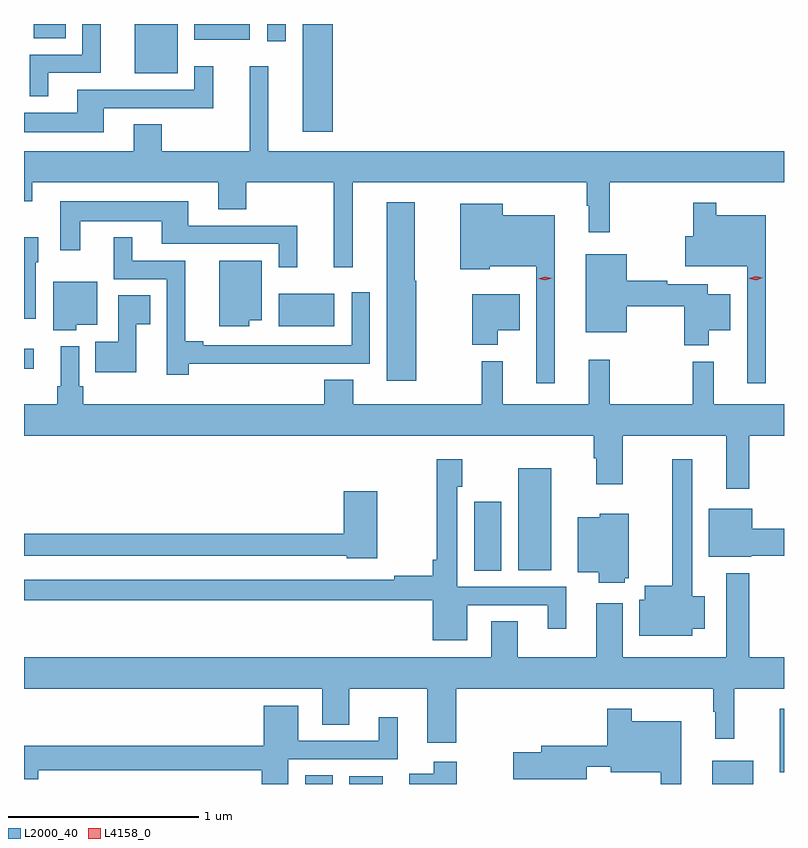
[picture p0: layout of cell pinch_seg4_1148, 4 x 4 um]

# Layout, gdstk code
import gdstk
lib = gdstk.Library(unit=1e-6, precision=1e-09)
def R(c, l, rs):  # rectangles x0, y0, x1, y1
    for r in rs: c.add(gdstk.rectangle(r[:2], r[2:], *l))
def P(c, l, *ps):  # polygons
    for p in ps: c.add(gdstk.Polygon(p, *l))
L2000_40 = (2000, 40)
L4158_0 = (4158, 0)

pinch_seg4_1148 = lib.new_cell('pinch_seg4_1148')
R(pinch_seg4_1148, L2000_40, [(484.589,772.342,484.732,772.388), (484.82,772.342,484.996,772.384), (486.731,772.342,486.946,772.465), (487.086,772.403,487.108,772.738), (485.477,773.464,485.62,773.827), (485.708,773.468,485.884,774.004), (483.108,774.527,483.16,774.634), (484.448,774.752,484.741,774.922), (484.574,775.776,484.733,776.342), (483.692,776.084,483.916,776.342), (484.389,776.25,484.485,776.342), (484.004,776.258,484.297,776.342), (483.158,776.266,483.329,776.342)])
P(pinch_seg4_1148, L2000_40, [(483.235,776.085),(483.512,776.085),(483.512,776.342),(483.414,776.342),(483.414,776.181),(483.137,776.181),(483.137,775.961),(483.235,775.961)],
  [(483.529,775.899),(484.103,775.899),(484.103,776.119),(484.005,776.119),(484.005,775.995),(483.389,775.995),(483.389,775.876),(483.108,775.876),(483.108,775.772),(483.529,775.772)],
  [(484.838,775.508),(486.069,775.508),(486.069,775.385),(486.08,775.385),(486.08,775.245),(486.19,775.245),(486.19,775.508),(487.108,775.508),(487.108,775.672),(484.394,775.672),(484.394,776.119),(484.295,776.119),(484.295,775.672),(483.834,775.672),(483.834,775.814),(483.686,775.814),(483.686,775.672),(483.108,775.672),(483.108,775.409),(483.151,775.409),(483.151,775.508),(484.13,775.508),(484.13,775.366),(484.278,775.366),(484.278,775.508),(484.739,775.508),(484.739,775.062),(484.838,775.062)],
  [(484.547,775.281),(483.973,775.281),(483.973,775.408),(483.299,775.408),(483.299,775.152),(483.403,775.152),(483.403,775.304),(483.833,775.304),(483.833,775.185),(484.449,775.185),(484.449,775.062),(484.547,775.062)],
  [(485.172,774.992),(485.164,774.992),(485.164,775.405),(485.018,775.405),(485.018,774.465),(485.172,774.465)],
  [(487.012,775.336),(486.751,775.336),(486.751,775.402),(486.63,775.402),(486.63,775.225),(486.588,775.225),(486.588,775.067),(486.915,775.067),(486.915,774.45),(487.012,774.45)],
  [(485.902,775.336),(485.629,775.336),(485.629,775.396),(485.405,775.396),(485.405,775.052),(485.559,775.052),(485.559,775.067),(485.805,775.067),(485.805,774.45),(485.902,774.45)],
  [(483.974,774.554),(484.604,774.554),(484.604,774.555),(484.929,774.555),(484.929,774.931),(484.833,774.931),(484.833,774.651),(484.051,774.651),(484.051,774.671),(483.956,774.671),(483.956,775.095),(483.679,775.095),(483.679,775.219),(483.581,775.219),(483.581,774.999),(483.858,774.999),(483.858,774.495),(483.974,774.495)],
  [(483.169,775.089),(483.184,775.089),(483.184,775.219),(483.108,775.219),(483.108,774.792),(483.169,774.792)],
  [(486.712,774.731),(486.826,774.731),(486.826,774.919),(486.706,774.919),(486.706,774.972),(486.494,774.972),(486.494,774.992),(486.28,774.992),(486.28,775.129),(486.065,775.129),(486.065,774.719),(486.28,774.719),(486.28,774.856),(486.583,774.856),(486.583,774.65),(486.712,774.65)],
  [(484.294,774.782),(484.36,774.782),(484.36,775.096),(484.136,775.096),(484.136,774.752),(484.294,774.752)],
  [(483.384,774.758),(483.493,774.758),(483.493,774.985),(483.263,774.985),(483.263,774.731),(483.384,774.731)],
  [(485.602,774.731),(485.716,774.731),(485.716,774.919),(485.468,774.919),(485.468,774.653),(485.602,774.653)],
  [(483.7,774.763),(483.773,774.763),(483.773,774.914),(483.603,774.914),(483.603,774.67),(483.484,774.67),(483.484,774.509),(483.7,774.509)],
  [(485.517,774.568),(485.517,774.34),(484.84,774.34),(484.84,774.47),(484.688,774.47),(484.688,774.34),(483.419,774.34),(483.419,774.436),(483.399,774.436),(483.399,774.646),(483.302,774.646),(483.302,774.436),(483.283,774.436),(483.283,774.34),(483.108,774.34),(483.108,774.176),(486.107,774.176),(486.107,774.056),(486.119,774.056),(486.119,773.919),(486.259,773.919),(486.259,774.176),(486.803,774.176),(486.803,773.895),(486.925,773.895),(486.925,774.176),(487.108,774.176),(487.108,774.34),(486.737,774.34),(486.737,774.565),(486.627,774.565),(486.627,774.34),(486.19,774.34),(486.19,774.574),(486.08,774.574),(486.08,774.34),(485.627,774.34),(485.627,774.568)],
  [(485.44,773.283),(485.864,773.283),(485.864,773.16),(485.962,773.16),(485.962,773.379),(485.388,773.379),(485.388,773.907),(485.415,773.907),(485.415,774.052),(485.28,774.052),(485.28,773.521),(485.258,773.521),(485.258,773.438),(485.056,773.438),(485.056,773.418),(483.108,773.418),(483.108,773.31),(485.258,773.31),(485.258,773.099),(485.44,773.099)],
  [(486.625,773.159),(486.691,773.159),(486.691,773.33),(486.625,773.33),(486.625,774.052),(486.519,774.052),(486.519,773.839),(486.521,773.839),(486.521,773.386),(486.374,773.386),(486.374,773.313),(486.347,773.313),(486.347,773.123),(486.625,773.123)],
  [(484.968,773.884),(484.79,773.884),(484.79,773.66),(483.108,773.66),(483.108,773.544),(484.806,773.544),(484.806,773.531),(484.968,773.531)],
  [(486.936,773.543),(487.108,773.543),(487.108,773.685),(486.94,773.685),(486.94,773.791),(486.713,773.791),(486.713,773.537),(486.936,773.537)],
  [(486.27,773.424),(486.292,773.424),(486.292,773.764),(486.138,773.764),(486.138,773.746),(486.023,773.746),(486.023,773.456),(486.134,773.456),(486.134,773.402),(486.27,773.402)],
  [(485.384,772.844),(486.735,772.844),(486.735,772.721),(486.746,772.721),(486.746,772.581),(486.846,772.581),(486.846,772.844),(487.108,772.844),(487.108,773.008),(486.925,773.008),(486.925,773.452),(486.803,773.452),(486.803,773.008),(486.259,773.008),(486.259,773.293),(486.119,773.293),(486.119,773.008),(485.707,773.008),(485.707,773.198),(485.567,773.198),(485.567,773.008),(483.108,773.008),(483.108,772.844),(484.679,772.844),(484.679,772.654),(484.819,772.654),(484.819,772.844),(485.231,772.844),(485.231,772.56),(485.384,772.56)],
  [(484.5,772.473),(485.074,772.473),(485.074,772.693),(484.976,772.693),(484.976,772.569),(484.552,772.569),(484.552,772.753),(484.37,772.753),(484.37,772.543),(483.108,772.543),(483.108,772.367),(483.184,772.367),(483.184,772.414),(484.358,772.414),(484.358,772.342),(484.5,772.342)],
  [(486.568,772.672),(486.307,772.672),(486.307,772.738),(486.178,772.738),(486.178,772.543),(485.831,772.543),(485.831,772.509),(485.682,772.509),(485.682,772.367),(486.07,772.367),(486.07,772.433),(486.197,772.433),(486.197,772.403),(486.459,772.403),(486.459,772.342),(486.568,772.342)],
  [(485.386,772.459),(485.264,772.459),(485.264,772.396),(485.135,772.396),(485.135,772.342),(485.386,772.342)])
P(pinch_seg4_1148, L4158_0, [(486.961,774.994),(486.925,775.002),(486.925,775.002),(486.925,775.003),(486.96,775.014),(486.996,775.007),(486.996,775.006),(486.996,775.006)],
  [(485.851,774.993),(485.815,775.001),(485.815,775.001),(485.815,775.002),(485.85,775.013),(485.887,775.005),(485.887,775.005),(485.887,775.004)])

lib.write_gds('pinch_seg4_1148.gds')
